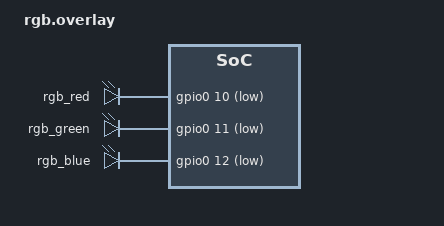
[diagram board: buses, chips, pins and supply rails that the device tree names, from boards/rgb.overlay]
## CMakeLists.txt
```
cmake_minimum_required(VERSION 3.20.0)

find_package(Zephyr REQUIRED HINTS $ENV{ZEPHYR_BASE})
project(meshtastic_led_status_tests)

target_include_directories(app PRIVATE
  ${CMAKE_CURRENT_SOURCE_DIR}/../../src
  ${CMAKE_BINARY_DIR}/modules/meshtastic-zephyr/src
  ${CMAKE_BINARY_DIR}/modules/meshtastic-zephyr/src/proto
)
target_sources(app PRIVATE src/main.c)
```

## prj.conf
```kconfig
CONFIG_ZTEST=y
CONFIG_GPIO=y
# The module alone: its init is called by the test, not by meshtastic_init(),
# so no radio and no stack. native_sim's led0 is gpio_emul pin 0 (the one-LED
# board); boards/rgb.overlay gives the XIAO's three.
CONFIG_LORA=y
CONFIG_LORA_MODULE_BACKEND_NATIVE=y
CONFIG_MESHTASTIC=y
CONFIG_MESHTASTIC_SETTINGS=n
CONFIG_MESHTASTIC_BLE=n
CONFIG_MESHTASTIC_SERIAL=n
CONFIG_MESHTASTIC_SHELL=n
CONFIG_MESHTASTIC_PHONEAPI=n
CONFIG_MESHTASTIC_GNSS=n
CONFIG_MESHTASTIC_EXTNOTIFY=n
CONFIG_MESHTASTIC_LED_STATUS=y
CONFIG_MESHTASTIC_LED_STATUS_LOCATE_SEC=2
CONFIG_MAIN_STACK_SIZE=8192
CONFIG_SYS_CLOCK_TICKS_PER_SEC=1000
```

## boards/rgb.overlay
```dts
/* SPDX-License-Identifier: GPL-3.0 */
/* The XIAO's shape: led0 red, led1 green, led2 blue, all active low, on the
 * emulated GPIO controller next to native_sim's own led0. */
/ {
	aliases {
		led0 = &rgb_red;
		led1 = &rgb_green;
		led2 = &rgb_blue;
	};

	rgb_leds {
		compatible = "gpio-leds";
		rgb_red: rgb_red {
			gpios = <&gpio0 10 GPIO_ACTIVE_LOW>;
		};
		rgb_green: rgb_green {
			gpios = <&gpio0 11 GPIO_ACTIVE_LOW>;
		};
		rgb_blue: rgb_blue {
			gpios = <&gpio0 12 GPIO_ACTIVE_LOW>;
		};
	};
};
```

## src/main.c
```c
/* SPDX-License-Identifier: GPL-3.0 */
/*
 * The bench LED (meshtastic_led_status.h), observed on emulated GPIO: each
 * mode's pattern on a one-LED board (native_sim's led0) and on the XIAO's RGB
 * (boards/rgb.overlay, active low), locate's timeout and its interruptions,
 * and -- in the settings build -- the mode surviving a reboot.
 */

#include <zephyr/device.h>
#include <zephyr/drivers/gpio.h>
#include <zephyr/drivers/gpio/gpio_emul.h>
#include <zephyr/kernel.h>
#include <zephyr/ztest.h>
#if defined(CONFIG_MESHTASTIC_SETTINGS)
#include <zephyr/settings/settings.h>
#endif

#include "meshtastic_led_status.h"

#define HAS_COLOR (DT_NODE_EXISTS(DT_ALIAS(led1)) && DT_NODE_EXISTS(DT_ALIAS(led2)))

static const struct gpio_dt_spec red = GPIO_DT_SPEC_GET(DT_ALIAS(led0), gpios);
#if HAS_COLOR
static const struct gpio_dt_spec green = GPIO_DT_SPEC_GET(DT_ALIAS(led1), gpios);
static const struct gpio_dt_spec blue = GPIO_DT_SPEC_GET(DT_ALIAS(led2), gpios);
#endif

/* The LED as a person sees it: lit or not, whatever the pin's polarity. */
static bool lit(const struct gpio_dt_spec *s)
{
	int phys = gpio_emul_output_get(s->port, s->pin);

	return ((s->dt_flags & GPIO_ACTIVE_LOW) != 0U) ? (phys == 0) : (phys == 1);
}

struct watch {
	uint32_t on_edges; /* dark -> lit transitions */
	uint32_t lit_ms;
	uint32_t ms;
};

/* Sample @p s every 5 ms for @p ms. */
static struct watch watch(const struct gpio_dt_spec *s, uint32_t ms)
{
	struct watch w = { 0 };
	bool was = lit(s);
	const int64_t start = k_uptime_get();
	int64_t t = start;

	/* Bounded by the clock, not by a count of sleeps: a sleep rounds up to
	 * the tick. */
	while (t - start < (int64_t)ms) {
		bool now = lit(s);
		int64_t next;

		if (now && !was) {
			w.on_edges++;
		}
		was = now;
		k_msleep(5);
		next = k_uptime_get();
		w.lit_ms += now ? (uint32_t)(next - t) : 0U;
		t = next;
	}
	w.ms = (uint32_t)(t - start);
	return w;
}

static void *setup(void)
{
#if defined(CONFIG_MESHTASTIC_SETTINGS)
	zassert_ok(settings_subsys_init());
	(void)settings_load();
#endif
	zassert_ok(meshtastic_led_status_init());
	return NULL;
}

static void before(void *f)
{
	ARG_UNUSED(f);
	meshtastic_led_status_locate(0);
	zassert_ok(meshtastic_led_status_set_color(MESHTASTIC_LED_COLOR_DEFAULT));
	zassert_ok(meshtastic_led_status_set_mode(MESHTASTIC_LED_IDLE));
	k_msleep(10);
}

ZTEST_SUITE(led_status, NULL, setup, before, NULL, NULL);

ZTEST(led_status, test_color_detection_matches_the_board)
{
	zassert_equal(meshtastic_led_status_has_color(), HAS_COLOR);
}

/* Idle: a slow blink on led0 (red on the XIAO) -- lit briefly about every 2 s. */
ZTEST(led_status, test_idle_is_a_slow_blink)
{
	struct watch w = watch(&red, 4100);

	zassert_true(w.on_edges >= 2U && w.on_edges <= 3U, "idle edges %u in 4.1 s", w.on_edges);
	zassert_true(w.lit_ms < w.ms / 4U, "idle lit %u of %u ms: not a slow blink", w.lit_ms, w.ms);
#if HAS_COLOR
	zassert_false(lit(&green) || lit(&blue), "idle is red only");
#endif
}

/* In use: steady and quiet -- solid green on the XIAO, dark on a one-LED board. */
ZTEST(led_status, test_in_use_is_steady)
{
	zassert_ok(meshtastic_led_status_set_mode(MESHTASTIC_LED_IN_USE));
	k_msleep(20);
	struct watch w = watch(&red, 2500);

	zassert_equal(w.lit_ms, 0U, "led0 lit %u ms while in use", w.lit_ms);
#if HAS_COLOR
	struct watch g = watch(&green, 1500);

	zassert_equal(g.lit_ms, g.ms, "green not solid while in use");
	zassert_false(lit(&blue));
#endif
	zassert_equal(meshtastic_led_status_get_mode(), MESHTASTIC_LED_IN_USE);
}

ZTEST(led_status, test_off_is_dark)
{
	zassert_ok(meshtastic_led_status_set_mode(MESHTASTIC_LED_OFF));
	k_msleep(20);
	zassert_equal(watch(&red, 2500).lit_ms, 0U);
#if HAS_COLOR
	zassert_false(lit(&green) || lit(&blue));
#endif
}

/* Locate: a fast blink (blue on the XIAO) that ends by itself and returns to
 * the mode it interrupted. */
ZTEST(led_status, test_locate_blinks_fast_then_returns)
{
#if HAS_COLOR
	const struct gpio_dt_spec *loc = &blue;
#else
	const struct gpio_dt_spec *loc = &red;
#endif
	zassert_ok(meshtastic_led_status_set_mode(MESHTASTIC_LED_IN_USE));
	meshtastic_led_status_locate(1);
	zassert_equal(meshtastic_led_status_locate_left(), 1U);
	struct watch w = watch(loc, 900);

	zassert_true(w.on_edges >= 4U, "locate edges %u in 0.9 s: not fast", w.on_edges);
	k_msleep(300);
	zassert_equal(meshtastic_led_status_locate_left(), 0U);
	zassert_equal(watch(&red, 1200).lit_ms, 0U, "not back to in-use after locate");
#if HAS_COLOR
	zassert_true(lit(&green), "not back to green after locate");
	zassert_false(lit(&blue));
#endif
	zassert_equal(meshtastic_led_status_get_mode(), MESHTASTIC_LED_IN_USE,
		      "locate must not change the saved mode");
}

ZTEST(led_status, test_locate_zero_stops_and_a_mode_ends_it)
{
	meshtastic_led_status_locate(60);
	k_msleep(50);
	meshtastic_led_status_locate(0);
	zassert_equal(meshtastic_led_status_locate_left(), 0U);

	meshtastic_led_status_locate(60);
	zassert_ok(meshtastic_led_status_set_mode(MESHTASTIC_LED_OFF));
	zassert_equal(meshtastic_led_status_locate_left(), 0U, "a new mode ends a locate");
	k_msleep(20);
	zassert_equal(watch(&red, 500).lit_ms, 0U);
}

ZTEST(led_status, test_an_unknown_mode_is_refused)
{
	zassert_equal(meshtastic_led_status_set_mode((enum meshtastic_led_mode)7), -EINVAL);
	zassert_equal(meshtastic_led_status_get_mode(), MESHTASTIC_LED_IDLE);
}

/* A colour by name, and the names the bench uses; anything else is refused. */
ZTEST(led_status, test_a_color_is_named_and_an_unknown_one_refused)
{
	enum meshtastic_led_color c;

	zassert_ok(meshtastic_led_color_parse("cyan", &c));
	zassert_equal(c, MESHTASTIC_LED_COLOR_CYAN);
	zassert_ok(meshtastic_led_color_parse("default", &c));
	zassert_equal(c, MESHTASTIC_LED_COLOR_DEFAULT);
	zassert_equal(meshtastic_led_color_parse("white", &c), -EINVAL, "white is locate's");
	zassert_equal(meshtastic_led_status_set_color((enum meshtastic_led_color)9), -EINVAL);
	zassert_equal(meshtastic_led_status_get_color(), MESHTASTIC_LED_COLOR_DEFAULT);
	zassert_str_equal(meshtastic_led_color_name(MESHTASTIC_LED_COLOR_MAGENTA), "magenta");
}

#if !HAS_COLOR
/* A one-LED board ignores a stored colour: in use stays dark whatever the colour (magenta
 * once lit it: drive() ORs red and blue onto the one LED), idle still blinks slowly (green
 * once kept it dark), and locate still blinks fast. */
ZTEST(led_status, test_a_one_led_board_keeps_its_patterns_whatever_the_color)
{
	static const enum meshtastic_led_color all[] = {
		MESHTASTIC_LED_COLOR_RED, MESHTASTIC_LED_COLOR_GREEN, MESHTASTIC_LED_COLOR_BLUE,
		MESHTASTIC_LED_COLOR_YELLOW, MESHTASTIC_LED_COLOR_CYAN, MESHTASTIC_LED_COLOR_MAGENTA,
	};

	for (size_t i = 0; i < ARRAY_SIZE(all); i++) {
		zassert_ok(meshtastic_led_status_set_color(all[i]));
		zassert_ok(meshtastic_led_status_set_mode(MESHTASTIC_LED_IN_USE));
		k_msleep(20);
		zassert_equal(watch(&red, 1200).lit_ms, 0U, "in use lit the one LED in %s",
			      meshtastic_led_color_name(all[i]));
	}
	zassert_ok(meshtastic_led_status_set_color(MESHTASTIC_LED_COLOR_GREEN));
	zassert_ok(meshtastic_led_status_set_mode(MESHTASTIC_LED_IDLE));
	struct watch w = watch(&red, 4100);

	zassert_true(w.on_edges >= 2U && w.on_edges <= 3U, "idle in green: %u edges", w.on_edges);
	meshtastic_led_status_locate(2);
	k_msleep(5);
	zassert_true(watch(&red, 900).on_edges >= 4U, "locate in green: not a fast blink");
}
#endif /* !HAS_COLOR */

#if HAS_COLOR
/* In use, the board shows what it is for: cyan is green and blue, steady, red dark. */
ZTEST(led_status, test_in_use_shows_the_color_steady)
{
	zassert_ok(meshtastic_led_status_set_color(MESHTASTIC_LED_COLOR_CYAN));
	zassert_ok(meshtastic_led_status_set_mode(MESHTASTIC_LED_IN_USE));
	k_msleep(20);
	struct watch g = watch(&green, 1500);

	zassert_equal(g.lit_ms, g.ms, "green not steady in cyan");
	zassert_true(lit(&blue), "blue not lit in cyan");
	zassert_false(lit(&red), "red lit in cyan");
}

/* Idle blinks the colour slowly: yellow is red and green, together. */
ZTEST(led_status, test_idle_blinks_the_color)
{
	zassert_ok(meshtastic_led_status_set_color(MESHTASTIC_LED_COLOR_YELLOW));
	struct watch r = watch(&red, 4100);

	zassert_true(r.on_edges >= 2U && r.on_edges <= 3U, "edges %u: not a slow blink", r.on_edges);
	zassert_true(r.lit_ms < r.ms / 4U);
	zassert_false(lit(&blue), "blue lit in yellow");
}

/* With a colour set, locate is white (all three, fast): no purpose has it. */
ZTEST(led_status, test_locate_is_white_when_a_color_is_set)
{
	zassert_ok(meshtastic_led_status_set_color(MESHTASTIC_LED_COLOR_GREEN));
	zassert_ok(meshtastic_led_status_set_mode(MESHTASTIC_LED_IN_USE));
	meshtastic_led_status_locate(2);
	k_msleep(5);
	struct watch r = watch(&red, 900);

	zassert_true(r.on_edges >= 4U, "red edges %u in 0.9 s: not a fast white blink", r.on_edges);
	zassert_true(watch(&blue, 600).on_edges >= 2U, "blue not blinking with red");
}
#endif /* HAS_COLOR */

#if defined(CONFIG_MESHTASTIC_SETTINGS)
static int read_mode_cb(const char *key, size_t len, settings_read_cb read_cb, void *cb_arg,
			void *param)
{
	uint8_t *out = param;

	if (key == NULL && len == 1U) {
		(void)read_cb(cb_arg, out, 1);
	}
	return 0;
}

/* The mode is written to mtled/mode, and a value found there at boot is the
 * mode the LED starts in. */
ZTEST(led_status, test_the_mode_survives_a_reboot)
{
	uint8_t stored = 0xFF;

	zassert_ok(meshtastic_led_status_set_mode(MESHTASTIC_LED_IN_USE));
	zassert_ok(settings_load_subtree_direct("mtled/mode", read_mode_cb, &stored));
	zassert_equal(stored, (uint8_t)MESHTASTIC_LED_IN_USE, "not saved");

	/* A "reboot": what is in flash is what the handler hands the module. */
	const uint8_t off = (uint8_t)MESHTASTIC_LED_OFF;

	zassert_ok(settings_save_one("mtled/mode", &off, 1));
	zassert_ok(settings_load_subtree("mtled"));
	zassert_equal(meshtastic_led_status_get_mode(), MESHTASTIC_LED_OFF, "not restored");
}

/* The colour is written to mtled/color and found there at boot, beside the mode. */
ZTEST(led_status, test_the_color_survives_a_reboot)
{
	uint8_t stored = 0xFF;

	zassert_ok(meshtastic_led_status_set_color(MESHTASTIC_LED_COLOR_MAGENTA));
	zassert_ok(settings_load_subtree_direct("mtled/color", read_mode_cb, &stored));
	zassert_equal(stored, (uint8_t)MESHTASTIC_LED_COLOR_MAGENTA, "not saved");

	const uint8_t blue_c = (uint8_t)MESHTASTIC_LED_COLOR_BLUE;

	zassert_ok(settings_save_one("mtled/color", &blue_c, 1));
	zassert_ok(settings_load_subtree("mtled"));
	zassert_equal(meshtastic_led_status_get_color(), MESHTASTIC_LED_COLOR_BLUE, "not restored");
}
#endif
```
